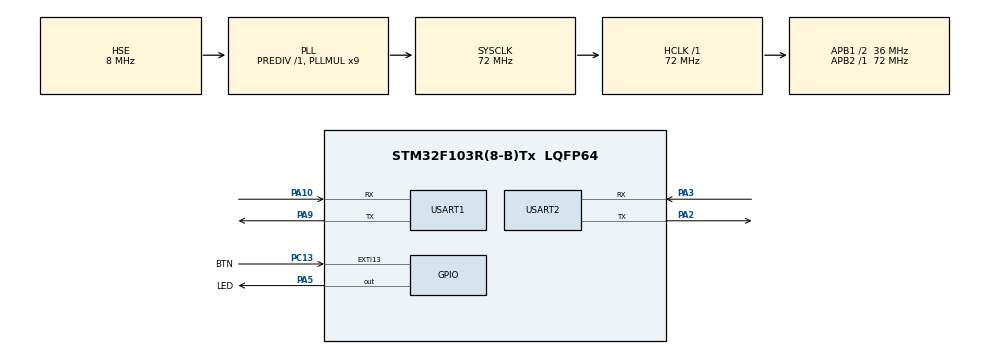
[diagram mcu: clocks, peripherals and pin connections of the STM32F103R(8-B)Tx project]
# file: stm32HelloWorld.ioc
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Mcu.Family=STM32F1
Mcu.Name=STM32F103R(8-B)Tx
Mcu.Package=LQFP64
NVIC.EXTI15_10_IRQn=true\:0\:0\:false\:false\:true\:true\:true\:true
NVIC.PriorityGroup=NVIC_PRIORITYGROUP_4
NVIC.TIM4_IRQn=true\:0\:0\:false\:false\:true\:true\:true\:true
PA10.Mode=Asynchronous
PA10.Signal=USART1_RX
PA13.Mode=Serial_Wire
PA13.Signal=SYS_JTMS-SWDIO
PA14.Mode=Serial_Wire
PA14.Signal=SYS_JTCK-SWCLK
PA2.Mode=Asynchronous
PA2.Signal=USART2_TX
PA3.Mode=Asynchronous
PA3.Signal=USART2_RX
PA5.GPIO_Label=LED
PA5.GPIO_ModeDefaultOutputPP=GPIO_MODE_OUTPUT_PP
PA5.GPIO_PuPd=GPIO_NOPULL
PA5.PinState=GPIO_PIN_RESET
PA5.Signal=GPIO_Output
PA9.Mode=Asynchronous
PA9.Signal=USART1_TX
PC13-TAMPER-RTC.GPIO_Label=BTN
PC13-TAMPER-RTC.GPIO_ModeDefaultEXTI=GPIO_MODE_IT_FALLING
PC13-TAMPER-RTC.GPIO_PuPd=GPIO_PULLUP
PC13-TAMPER-RTC.Signal=GPXTI13
PD0-OSC_IN.Mode=HSE-External-Oscillator
PD0-OSC_IN.Signal=RCC_OSC_IN
PD1-OSC_OUT.Mode=HSE-External-Oscillator
PD1-OSC_OUT.Signal=RCC_OSC_OUT
ProjectManager.HeapSize=0x200
ProjectManager.StackSize=0x400
ProjectManager.TargetToolchain=STM32CubeIDE
RCC.AHBFreq_Value=72000000
RCC.APB1CLKDivider=RCC_HCLK_DIV2
RCC.APB1Freq_Value=36000000
RCC.APB1TimFreq_Value=72000000
RCC.APB2Freq_Value=72000000
RCC.APB2TimFreq_Value=72000000
RCC.HCLKFreq_Value=72000000
RCC.PLLMUL=RCC_PLL_MUL9
RCC.PLLSourceVirtual=RCC_PLLSOURCE_HSE
RCC.SYSCLKFreq_VALUE=72000000
RCC.SYSCLKSource=RCC_SYSCLKSOURCE_PLLCLK
RCC.USBFreq_Value=72000000
TIM4.Period=4999
TIM4.Prescaler=9999
USART1.VirtualMode=VM_ASYNC
USART2.VirtualMode=VM_ASYNC
VP_TIM4_VS_ClockSourceINT.Mode=Internal
board=custom

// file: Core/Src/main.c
/* USER CODE BEGIN Header */
/**
  ******************************************************************************
  * @file           : main.c
  * @brief          : Main program body
  ******************************************************************************
  * @attention
  *
  * Copyright (c) 2026 STMicroelectronics.
  * All rights reserved.
  *
  * This software is licensed under terms that can be found in the LICENSE file
  * in the root directory of this software component.
  * If no LICENSE file comes with this software, it is provided AS-IS.
  *
  ******************************************************************************
  */
/* USER CODE END Header */
#include "main.h"

/* USER CODE BEGIN Includes */
#include "stdio.h"

/* USER CODE END Includes */

TIM_HandleTypeDef htim4;

UART_HandleTypeDef huart1;
UART_HandleTypeDef huart2;

/* USER CODE BEGIN PV */
uint8_t btn_press = 0;

uint16_t blink_delays[] = {
		500,
		250,
		100,
};

uint8_t blink_delay = 0;
/* USER CODE END PV */

void SystemClock_Config(void);
static void MX_GPIO_Init(void);
static void MX_USART1_UART_Init(void);
static void MX_USART2_UART_Init(void);
static void MX_TIM4_Init(void);

/* USER CODE BEGIN 0 */

// Send printf to uart1

void HAL_TIM_PeriodElapsedCallback(TIM_HandleTypeDef *htim)
{
   HAL_GPIO_TogglePin(LED_GPIO_Port, LED_Pin);
}

int _write(int fd, char* ptr, int len) {
  HAL_StatusTypeDef hstatus;

  if (fd == 1 || fd == 2) {
    hstatus = HAL_UART_Transmit(&huart2, (uint8_t *) ptr, len, HAL_MAX_DELAY);

    if (hstatus == HAL_OK)
      return len;
    else
      return -1;
  }
  return -1;
}

void HAL_GPIO_EXTI_Callback(uint16_t GPIO_Pin) {
	if(GPIO_Pin == BTN_Pin) {
		btn_press = 1;
	}
}

/* USER CODE END 0 */

int main(void)
{

  /* MCU Configuration--------------------------------------------------------*/

  /* Reset of all peripherals, Initializes the Flash interface and the Systick. */
  HAL_Init();

  /* Configure the system clock */
  SystemClock_Config();

  /* Initialize all configured peripherals */
  MX_GPIO_Init();
  MX_USART1_UART_Init();
  MX_USART2_UART_Init();
  MX_TIM4_Init();
  /* USER CODE BEGIN 2 */

  printf("Start program \r\n");

  HAL_TIM_Base_Start_IT(&htim4);

  /* USER CODE END 2 */

  /* Infinite loop */
  /* USER CODE BEGIN WHILE */

  uint32_t now = 0, next_blink = 0, next_tick = 0, loop_cnt = 0;

  while (1)
  {
	  now = HAL_GetTick();

	  if(now >= next_blink) {

//		  printf("Blink\n");

	//	  HAL_GPIO_TogglePin(LED_GPIO_Port, LED_Pin);

		  next_blink = now + blink_delays[blink_delay];
	  }

	  if (now >= next_tick) {
		  printf("Tick %lu (loop count %lu) \r\n", now / 1000, loop_cnt);
		loop_cnt = 0;

	    next_tick = now + 1000;
	  }

	  if(btn_press == 1) {

		  printf("Button pressed \r\n");
		  ++blink_delay;

		  if(blink_delay >= sizeof(blink_delays) / sizeof(blink_delays[0])) blink_delay = 0;

		  btn_press = 0;
	  }

	  ++loop_cnt;

    /* USER CODE END WHILE */

  }
}

void SystemClock_Config(void)
{
  RCC_OscInitTypeDef RCC_OscInitStruct = {0};
  RCC_ClkInitTypeDef RCC_ClkInitStruct = {0};

  /** Initializes the RCC Oscillators according to the specified parameters
  * in the RCC_OscInitTypeDef structure.
  */
  RCC_OscInitStruct.OscillatorType = RCC_OSCILLATORTYPE_HSE;
  RCC_OscInitStruct.HSEState = RCC_HSE_ON;
  RCC_OscInitStruct.HSEPredivValue = RCC_HSE_PREDIV_DIV1;
  RCC_OscInitStruct.HSIState = RCC_HSI_ON;
  RCC_OscInitStruct.PLL.PLLState = RCC_PLL_ON;
  RCC_OscInitStruct.PLL.PLLSource = RCC_PLLSOURCE_HSE;
  RCC_OscInitStruct.PLL.PLLMUL = RCC_PLL_MUL9;
  if (HAL_RCC_OscConfig(&RCC_OscInitStruct) != HAL_OK)
  {
    Error_Handler();
  }

  /** Initializes the CPU, AHB and APB buses clocks
  */
  RCC_ClkInitStruct.ClockType = RCC_CLOCKTYPE_HCLK|RCC_CLOCKTYPE_SYSCLK
                              |RCC_CLOCKTYPE_PCLK1|RCC_CLOCKTYPE_PCLK2;
  RCC_ClkInitStruct.SYSCLKSource = RCC_SYSCLKSOURCE_PLLCLK;
  RCC_ClkInitStruct.AHBCLKDivider = RCC_SYSCLK_DIV1;
  RCC_ClkInitStruct.APB1CLKDivider = RCC_HCLK_DIV2;
  RCC_ClkInitStruct.APB2CLKDivider = RCC_HCLK_DIV1;

  if (HAL_RCC_ClockConfig(&RCC_ClkInitStruct, FLASH_LATENCY_2) != HAL_OK)
  {
    Error_Handler();
  }
}

static void MX_TIM4_Init(void)
{

  TIM_ClockConfigTypeDef sClockSourceConfig = {0};
  TIM_MasterConfigTypeDef sMasterConfig = {0};

  htim4.Instance = TIM4;
  htim4.Init.Prescaler = 9999;
  htim4.Init.CounterMode = TIM_COUNTERMODE_UP;
  htim4.Init.Period = 4999;
  htim4.Init.ClockDivision = TIM_CLOCKDIVISION_DIV1;
  htim4.Init.AutoReloadPreload = TIM_AUTORELOAD_PRELOAD_DISABLE;
  if (HAL_TIM_Base_Init(&htim4) != HAL_OK)
  {
    Error_Handler();
  }
  sClockSourceConfig.ClockSource = TIM_CLOCKSOURCE_INTERNAL;
  if (HAL_TIM_ConfigClockSource(&htim4, &sClockSourceConfig) != HAL_OK)
  {
    Error_Handler();
  }
  sMasterConfig.MasterOutputTrigger = TIM_TRGO_RESET;
  sMasterConfig.MasterSlaveMode = TIM_MASTERSLAVEMODE_DISABLE;
  if (HAL_TIMEx_MasterConfigSynchronization(&htim4, &sMasterConfig) != HAL_OK)
  {
    Error_Handler();
  }

}

static void MX_USART1_UART_Init(void)
{

  huart1.Instance = USART1;
  huart1.Init.BaudRate = 115200;
  huart1.Init.WordLength = UART_WORDLENGTH_8B;
  huart1.Init.StopBits = UART_STOPBITS_1;
  huart1.Init.Parity = UART_PARITY_NONE;
  huart1.Init.Mode = UART_MODE_TX_RX;
  huart1.Init.HwFlowCtl = UART_HWCONTROL_NONE;
  huart1.Init.OverSampling = UART_OVERSAMPLING_16;
  if (HAL_UART_Init(&huart1) != HAL_OK)
  {
    Error_Handler();
  }

}

static void MX_USART2_UART_Init(void)
{

  huart2.Instance = USART2;
  huart2.Init.BaudRate = 115200;
  huart2.Init.WordLength = UART_WORDLENGTH_8B;
  huart2.Init.StopBits = UART_STOPBITS_1;
  huart2.Init.Parity = UART_PARITY_NONE;
  huart2.Init.Mode = UART_MODE_TX_RX;
  huart2.Init.HwFlowCtl = UART_HWCONTROL_NONE;
  huart2.Init.OverSampling = UART_OVERSAMPLING_16;
  if (HAL_UART_Init(&huart2) != HAL_OK)
  {
    Error_Handler();
  }

}

static void MX_GPIO_Init(void)
{
  GPIO_InitTypeDef GPIO_InitStruct = {0};

  /* GPIO Ports Clock Enable */
  __HAL_RCC_GPIOC_CLK_ENABLE();
  __HAL_RCC_GPIOD_CLK_ENABLE();
  __HAL_RCC_GPIOA_CLK_ENABLE();

  /*Configure GPIO pin Output Level */
  HAL_GPIO_WritePin(LED_GPIO_Port, LED_Pin, GPIO_PIN_RESET);

  /*Configure GPIO pin : BTN_Pin */
  GPIO_InitStruct.Pin = BTN_Pin;
  GPIO_InitStruct.Mode = GPIO_MODE_IT_FALLING;
  GPIO_InitStruct.Pull = GPIO_PULLUP;
  HAL_GPIO_Init(BTN_GPIO_Port, &GPIO_InitStruct);

  /*Configure GPIO pin : LED_Pin */
  GPIO_InitStruct.Pin = LED_Pin;
  GPIO_InitStruct.Mode = GPIO_MODE_OUTPUT_PP;
  GPIO_InitStruct.Pull = GPIO_NOPULL;
  GPIO_InitStruct.Speed = GPIO_SPEED_FREQ_LOW;
  HAL_GPIO_Init(LED_GPIO_Port, &GPIO_InitStruct);

  /* EXTI interrupt init*/
  HAL_NVIC_SetPriority(EXTI15_10_IRQn, 0, 0);
  HAL_NVIC_EnableIRQ(EXTI15_10_IRQn);

}

void Error_Handler(void)
{
  __disable_irq();
  while (1)
  {
  }
}
